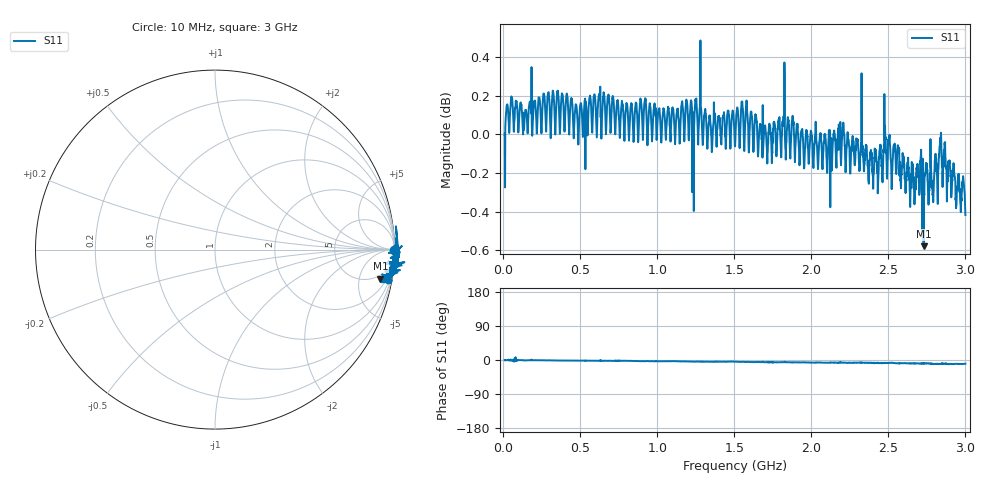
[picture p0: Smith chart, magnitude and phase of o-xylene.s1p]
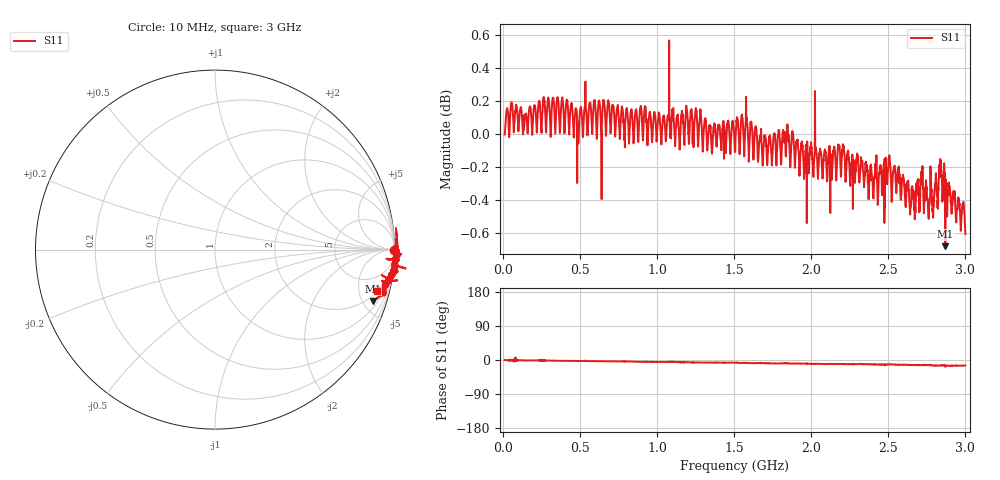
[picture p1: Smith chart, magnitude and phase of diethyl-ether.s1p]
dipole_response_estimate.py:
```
"""
Estimate the relation between molecular polarity and the dielectric-probe
(S11 reflection) response for the CURRENT measurement setup.

Frame: across compounds. Each pure liquid is one data point. We relate two
polarity predictors -- the gas-phase dipole moment AND the bulk static
permittivity eps_s -- to two measured response features, |S11| (dB) and S11
phase (deg). Fitting the slope lets us state, for this setup:
    "1 Debye (or 1 eps-unit) of difference ~= X dB and Y deg of S11 difference".

Physics: an open-ended coax probe is loaded by the bulk complex permittivity of
the liquid. A more polar molecule has a larger dipole, which (via Onsager /
Kirkwood, modulated by H-bonding/association) raises eps_s and shifts the
reflection coefficient. eps_s is the physically direct driver; the gas-phase
dipole is the upstream molecular cause -- we report both so their explanatory
power can be compared.

S11 files are Touchstone: '# HZ S RI R 50' -> freq[Hz], Re(S11), Im(S11).
This is an UNCALIBRATED estimate: absolute permittivity from the simplified
open-coax model is not meaningful; only differences/ordering are used.
"""

import numpy as np
import matplotlib
matplotlib.use("Agg")
import matplotlib.pyplot as plt
from pathlib import Path

HERE = Path(__file__).parent
DB = HERE / "Database"

# Pure-compound measurement -> (file, gas-phase dipole [Debye], static perm eps_s ~20C).
# eps_s from standard tables (CRC/literature, ~20-25 C). DEET eps_s is approximate.
COMPOUNDS = {
    # name              file                                       dipole  eps_s
    "o-Xylene":        ("Aromatic-hydrocarbon/o-xylene.s1p",        0.64,   2.57),
    "Diethyl ether":   ("Diethylether/diethyl-ether.s1p",          1.15,   4.27),
    "Isopropanol":     ("Isopropanol/100%.s1p",                    1.66,  18.3),
    "tert-Butanol":    ("2-Methylpropan-2-ol/tert-butanol.s1p",    1.66,  12.5),
    "Ethanol":         ("Ethanol/ethanol.s1p",                     1.69,  24.5),
    "Water":           ("Water/DI-water.s1p",                      1.85,  80.1),
    "2-Butoxyethanol": ("2-Butoxyethanol/2-Butoxyethanol.s1p",     2.08,   9.3),
    "Propylene glycol":("Propane-1,2-diol/100%.s1p",               2.27,  32.0),
    "Acetone":         ("Propan-2-one/100%.s1p",                   2.88,  21.0),
    "DEET":            ("DEET/DEET.s1p",                            3.30,   8.0),  # eps_s approx
}

# Open-coax probe model is most stable in the low-GHz band.
F_LO, F_HI = 0.5e9, 3.0e9
F_SPOTS = (1.0e9, 2.4e9)          # representative spot frequencies
BASELINE = "o-Xylene"             # non-polar reference for differential features


def load_s1p(path):
    freqs, re, im = [], [], []
    with open(path) as fh:
        for line in fh:
            line = line.strip()
            if not line or line[0] in "#!":
                continue
            parts = line.split()
            if len(parts) < 3:
                continue
            freqs.append(float(parts[0]))
            re.append(float(parts[1]))
            im.append(float(parts[2]))
    f = np.asarray(freqs)
    s11 = np.asarray(re) + 1j * np.asarray(im)
    return f, s11


def features(path):
    f, s11 = load_s1p(path)
    band = (f >= F_LO) & (f <= F_HI)
    s = s11[band]
    mag_db = 20 * np.log10(np.maximum(np.abs(s), 1e-12))
    phase = np.degrees(np.unwrap(np.angle(s)))
    eps = ((1 + s) / (1 - s)) ** 2          # simplified open-coax permittivity

    out = {
        "mag_db": float(np.mean(mag_db)),
        "phase_deg": float(np.mean(phase)),
        "eps_real": float(np.mean(np.real(eps))),
    }
    # spot-frequency magnitude/phase
    for fs in F_SPOTS:
        i = int(np.argmin(np.abs(f - fs)))
        out[f"mag_{fs/1e9:.1f}G"] = float(20 * np.log10(max(abs(s11[i]), 1e-12)))
        out[f"pha_{fs/1e9:.1f}G"] = float(np.degrees(np.angle(s11[i])))
    return out


def fit(x, y):
    """Return slope, intercept, Pearson R, R^2 for y ~ x."""
    slope, intercept = np.polyfit(x, y, 1)
    yhat = slope * x + intercept
    ss_res = np.sum((y - yhat) ** 2)
    ss_tot = np.sum((y - np.mean(y)) ** 2)
    r2 = 1 - ss_res / ss_tot if ss_tot > 0 else float("nan")
    r = np.corrcoef(x, y)[0, 1]
    return slope, intercept, r, r2


def main():
    names, dip, eps_s = [], [], []
    mag, pha, epsr = [], [], []
    m1, p1, m2, p2 = [], [], [], []
    for name, (rel, d, es) in COMPOUNDS.items():
        p = DB / rel
        if not p.exists():
            print(f"  (skip, missing) {rel}")
            continue
        fe = features(p)
        names.append(name); dip.append(d); eps_s.append(es)
        mag.append(fe["mag_db"]); pha.append(fe["phase_deg"]); epsr.append(fe["eps_real"])
        m1.append(fe["mag_1.0G"]); p1.append(fe["pha_1.0G"])
        m2.append(fe["mag_2.4G"]); p2.append(fe["pha_2.4G"])

    names = np.array(names)
    dip = np.array(dip); eps_s = np.array(eps_s)
    mag = np.array(mag); pha = np.array(pha); epsr = np.array(epsr)
    m1 = np.array(m1); p1 = np.array(p1); m2 = np.array(m2); p2 = np.array(p2)

    # differential features vs non-polar baseline
    bi = list(names).index(BASELINE)
    dmag = mag - mag[bi]
    dpha = pha - pha[bi]

    # ---- table ----
    print(f"\nResponse features averaged over {F_LO/1e9:.1f}-{F_HI/1e9:.1f} GHz")
    print(f"(differences referenced to non-polar baseline '{BASELINE}')\n")
    hdr = (f"{'compound':<18}{'dipole':>8}{'eps_s':>8}"
           f"{'|S11|dB':>9}{'phase':>8}{'d|S11|':>8}{'dphase':>8}"
           f"{'m@1G':>8}{'p@1G':>8}{'m@2.4G':>8}{'p@2.4G':>8}")
    print(hdr)
    order = np.argsort(dip)
    for i in order:
        print(f"{names[i]:<18}{dip[i]:>8.2f}{eps_s[i]:>8.1f}"
              f"{mag[i]:>9.2f}{pha[i]:>8.1f}{dmag[i]:>8.2f}{dpha[i]:>8.1f}"
              f"{m1[i]:>8.2f}{p1[i]:>8.1f}{m2[i]:>8.2f}{p2[i]:>8.1f}")

    # ---- dual regression ----
    targets = [("|S11| magnitude", mag, "dB"),
               ("S11 phase", pha, "deg"),
               ("d|S11| (vs baseline)", dmag, "dB"),
               ("dphase (vs baseline)", dpha, "deg")]
    regr = {}  # (predictor, target) -> (slope, intercept, r, r2)

    def report(predictor_name, x, unit):
        print(f"\nSensitivity vs {predictor_name}:")
        for ylabel, y, yunit in targets:
            s, b, r, r2 = fit(x, y)
            regr[(predictor_name, ylabel)] = (s, b, r, r2, yunit, unit)
            print(f"  {ylabel:<22} = {s:+9.3f} {yunit}/{unit:<7} "
                  f"(intercept {b:+8.2f}, R={r:+.2f}, R^2={r2:.2f})")

    report("gas-phase dipole [Debye]", dip, "Debye")
    report("static permittivity eps_s", eps_s, "eps")

    # which predictor explains the magnitude/phase better?
    print("\nVerdict (R^2 of absolute feature):")
    verdict = {}
    for ylabel, y in [("|S11| magnitude", mag), ("S11 phase", pha)]:
        _, _, _, r2d = fit(dip, y)
        _, _, _, r2e = fit(eps_s, y)
        better = "eps_s" if r2e > r2d else "dipole"
        verdict[ylabel] = (r2d, r2e, better)
        print(f"  {ylabel:<16}: dipole R^2={r2d:.2f}  eps_s R^2={r2e:.2f}  -> {better} explains more")

    # ---- write report + CSV ----
    outdir = HERE / "reports"
    outdir.mkdir(exist_ok=True)

    csv_path = outdir / "dipole_response_features.csv"
    with open(csv_path, "w") as fh:
        fh.write("compound,dipole_D,eps_s,mag_dB,phase_deg,dmag_dB,dphase_deg,"
                 "mag_1GHz,phase_1GHz,mag_2.4GHz,phase_2.4GHz\n")
        for i in order:
            fh.write(f"{names[i]},{dip[i]:.2f},{eps_s[i]:.1f},{mag[i]:.3f},"
                     f"{pha[i]:.2f},{dmag[i]:.3f},{dpha[i]:.2f},"
                     f"{m1[i]:.3f},{p1[i]:.2f},{m2[i]:.3f},{p2[i]:.2f}\n")

    md_path = outdir / "dipole_response_report.md"
    with open(md_path, "w") as fh:
        w = fh.write
        w("# Dipole / polarity vs dielectric-probe (S11) response\n\n")
        w(f"_Generated by `dipole_response_estimate.py`. Band-average "
          f"{F_LO/1e9:.1f}-{F_HI/1e9:.1f} GHz; differences vs non-polar baseline "
          f"`{BASELINE}`._\n\n")

        w("## Question\n")
        w("For this open-ended coax probe setup, how does a difference in a "
          "molecule's polarity translate into a difference in the measured S11 "
          "magnitude and phase? Each pure liquid is one data point; we test two "
          "predictors: the gas-phase **dipole moment** and the bulk **static "
          "permittivity epsilon_s**.\n\n")

        w("## Measured features per compound\n\n")
        w("| compound | dipole (D) | eps_s | \\|S11\\| (dB) | phase (deg) | "
          "d\\|S11\\| (dB) | dphase (deg) |\n")
        w("|---|---|---|---|---|---|---|\n")
        for i in order:
            w(f"| {names[i]} | {dip[i]:.2f} | {eps_s[i]:.1f} | {mag[i]:.2f} | "
              f"{pha[i]:.1f} | {dmag[i]:.2f} | {dpha[i]:.1f} |\n")
        w("\nFull per-frequency features in `dipole_response_features.csv`.\n\n")

        w("## Sensitivity (linear fit: feature = slope * predictor + intercept)\n\n")
        w("| predictor | target | slope | intercept | R | R^2 |\n")
        w("|---|---|---|---|---|---|\n")
        for (pred, ylabel), (s, b, r, r2, yunit, unit) in regr.items():
            w(f"| {pred} | {ylabel} | {s:+.3f} {yunit}/{unit} | {b:+.2f} | "
              f"{r:+.2f} | {r2:.2f} |\n")
        w("\n")

        w("## Verdict\n\n")
        for ylabel, (r2d, r2e, better) in verdict.items():
            w(f"- **{ylabel}**: dipole R^2={r2d:.2f}, eps_s R^2={r2e:.2f} "
              f"-> **{better}** explains more.\n")
        w("\n")

        # pull the headline numbers
        s_ph, _, _, r2_ph, _, _ = regr[("static permittivity eps_s", "S11 phase")]
        s_mg, _, _, r2_mg, _, _ = regr[("static permittivity eps_s", "|S11| magnitude")]
        w("## Headline estimate for this setup\n\n")
        w(f"- **Phase is the sensitive channel:** ~ **{s_ph:.2f} deg of S11 phase "
          f"per unit of static permittivity** (R^2={r2_ph:.2f}).\n")
        w(f"- Magnitude moves far less: ~ **{s_mg:.3f} dB per eps-unit** "
          f"(R^2={r2_mg:.2f}).\n")
        w("- The single-molecule gas-phase dipole is a **weak** predictor on its "
          "own (R^2 ~ 0.0-0.15): the probe is loaded by bulk permittivity, and "
          "H-bonding/association scrambles the dipole->eps_s mapping (the alcohols "
          "cluster at ~1.66-1.69 D but span eps_s 12-25).\n\n")

        w("## Caveats\n\n")
        w("- Uncalibrated: the simplified open-coax permittivity model is used only "
          "for ordering/differences, not absolute eps.\n")
        w("- Ethanol is 96%; sample temperatures vary 12-18 C; eps_s are literature "
          "~20 C values (DEET eps_s is approximate).\n")
        w("- n = %d compounds; this is an estimate, not a calibrated measurement.\n"
          % len(names))
        w("\n![scatter](dipole_response_estimate.png)\n")

    print(f"\nWrote report -> {md_path}")
    print(f"Wrote CSV    -> {csv_path}")

    # ---- plot ----
    fig, ax = plt.subplots(2, 2, figsize=(11, 9))
    panels = [
        (ax[0, 0], dip, mag, "gas dipole [D]", "|S11| [dB]"),
        (ax[0, 1], dip, pha, "gas dipole [D]", "S11 phase [deg]"),
        (ax[1, 0], eps_s, mag, "static eps_s", "|S11| [dB]"),
        (ax[1, 1], eps_s, pha, "static eps_s", "S11 phase [deg]"),
    ]
    for a, x, y, xl, yl in panels:
        a.scatter(x, y, c="tab:blue", zorder=3)
        for xi, yi, nm in zip(x, y, names):
            a.annotate(nm, (xi, yi), fontsize=7, xytext=(3, 3),
                       textcoords="offset points")
        s, b, r, r2 = fit(x, y)
        xs = np.linspace(min(x), max(x), 50)
        a.plot(xs, s * xs + b, "r--", lw=1,
               label=f"slope={s:.2f}, R^2={r2:.2f}")
        a.set_xlabel(xl); a.set_ylabel(yl); a.legend(fontsize=8); a.grid(alpha=0.3)
    fig.suptitle(f"Polarity vs probe S11 response ({F_LO/1e9:.1f}-{F_HI/1e9:.1f} GHz band-avg)")
    fig.tight_layout()
    out_png = outdir / "dipole_response_estimate.png"
    fig.savefig(out_png, dpi=130)
    print(f"\nSaved plot -> {out_png}")

    print("\nCaveats: uncalibrated estimate; Ethanol is 96%, temps 12-18 C,")
    print("eps_s are literature ~20 C (DEET eps_s approximate). Differences/ordering")
    print("are meaningful; absolute model permittivity is not.")


if __name__ == "__main__":
    main()
```
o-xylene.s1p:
# HZ S RI R 50
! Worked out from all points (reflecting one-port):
!   2020 points, 10 MHz to 3 GHz, reference 50 ohm
!   lowest |S11| = -0.6 dB at 2.729 GHz (marker M1), VSWR 30.02, Z = 194 - j501 ohm
!   phase of S11 starts at -0 deg and turns -10 deg over the sweep
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1e7  0.9998 -0.000964
2.810104e8  1.006 -0.0179
1.006667e9  1.012 -0.0599
1.350243e9  0.9966 -0.0769
1.483526e9  1.007 -0.0719
1.621253e9  0.9942 -0.0914
2.003333e9  0.9924 -0.1171
2.192892e9  0.9755 -0.1119
2.419475e9  0.9771 -0.139
2.489078e9  0.9727 -0.1384
2.728989e9  0.9215 -0.1613
2.826731e9  0.9672 -0.1874
2.85783e9  0.9704 -0.169
3e9  0.9391 -0.1623
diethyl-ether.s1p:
# HZ S RI R 50
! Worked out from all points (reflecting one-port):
!   2020 points, 10 MHz to 3 GHz, reference 50 ohm
!   lowest |S11| = -0.7 dB at 2.87 GHz (marker M1), VSWR 25.68, Z = 73.8 - j295 ohm
!   phase of S11 starts at -0 deg and turns -14 deg over the sweep
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1e7  0.9998 -0.000954
3.402476e8  1.004 -0.0333
1.006667e9  1.007 -0.0939
1.095522e9  1.011 -0.0794
1.237692e9  0.9901 -0.1136
1.483526e9  0.9974 -0.1203
2.003333e9  0.9719 -0.1775
2.323214e9  0.9639 -0.1841
2.462422e9  0.9407 -0.2022
2.518697e9  0.9438 -0.1878
2.660866e9  0.9366 -0.2199
2.847464e9  0.9432 -0.2284
2.869678e9  0.8789 -0.2883
3e9  0.9035 -0.2322
